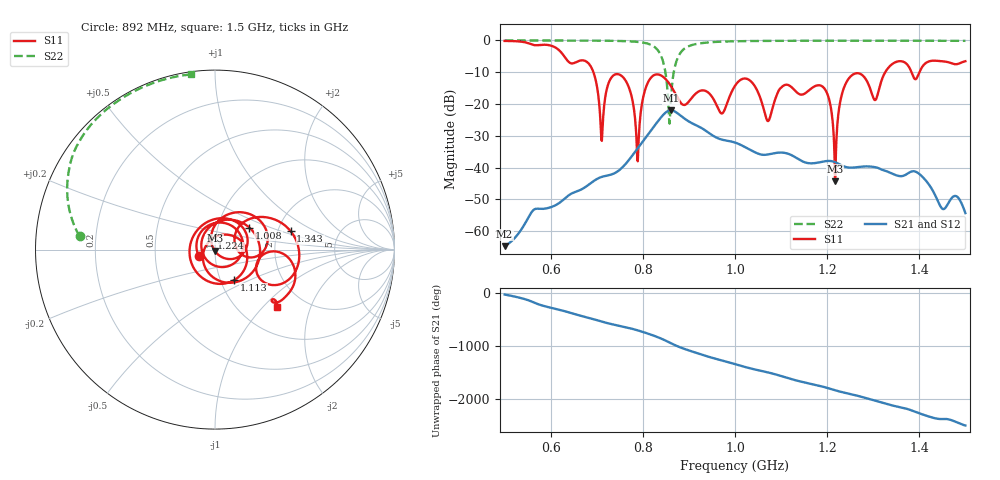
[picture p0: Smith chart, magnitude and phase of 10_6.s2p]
! TOUCHSTONE file generated by CST MICROWAVE STUDIO
! Date and time: Tue Nov 17 07:11:14 2020
! Project name: Scenario_1_Planar_Body_Tissue_Out_of_Line.cst
! Header version: 2018
! Port assignment regex: !\s*Touchstone port\s*([0-9]+)\s*=\s*(CST MWS port|CST DS port)\s*([0-9]+|Zmin|Zmax)\s*\(\"(.*)\"\)(\s*mode\s*([0-9]+))?.*
! Touchstone port assignment:
! Touchstone port 1 = CST MWS port 1 ("")
! Touchstone port 2 = CST MWS port 2 ("")
# GHz S DB R 50
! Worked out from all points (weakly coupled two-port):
!   1003 points, 500 MHz to 1.5 GHz, reference 50 ohm
!   highest |S21| = -21.99 dB at 861 MHz (marker M1); lowest = -64.7 dB at 500 MHz (marker M2)
!   lowest |S11| = -44.3 dB at 1.217 GHz (marker M3), VSWR 1.01, Z = 49.8 - j0.578 ohm
!   |S11| at or under -10 dB: 692.7 MHz to 1.326 GHz (633.3 MHz wide, 62.7 % of centre); 1.383 GHz to 1.4 GHz (17.11 MHz wide, 1.23 % of centre)
!   |S22| runs from -26.2 to 0.0 dB; largest |S21 - S12| = 2.4e-05
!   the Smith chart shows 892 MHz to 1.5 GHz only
!   S11 on the Smith chart (normalised r, x): 892 MHz: 0.83, -0.06; 1.008 GHz: 1.42, +0.37; 1.113 GHz: 1.16, -0.41; 1.224 GHz: 0.95, +0.12; 1.343 GHz: 2.35, +0.59; 1.5 GHz: 1.46, -1.21
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0.5  -0.15 -121.6  -64.73 -22.0  -64.73 -22.0  -0.01 151.2
0.667  -6.26 148.0  -46.85 -67.4  -46.85 -67.4  -0.04 138.4
0.711  -31.60 -56.1  -42.93 -174.8  -42.93 -174.8  -0.08 133.5
0.729  -12.33 -171.9  -42.30 143.9  -42.30 143.9  -0.11 131.0
0.76  -12.09 115.9  -39.27 85.0  -39.27 85.0  -0.21 125.5
0.788  -37.39 106.5  -34.09 21.6  -34.09 21.6  -0.45 117.7
0.834  -10.72 85.0  -25.20 -115.6  -25.20 -115.6  -3.38 83.5
0.861  -14.36 -6.2  -21.99 135.7  -21.99 135.7  -18.21 -120.2
0.892  -20.23 -158.3  -24.76 22.6  -24.76 22.6  -2.41 174.4
1  -14.28 58.8  -32.12 100.0  -32.12 100.0  -0.27 140.2
1.008  -12.86 32.7  -32.57 79.6  -32.57 79.6  -0.24 139.2
1.071  -25.36 150.3  -35.88 -56.0  -35.88 -56.0  -0.14 132.3
1.113  -13.93 -57.5  -35.55 -159.4  -35.55 -159.4  -0.11 128.6
1.167  -14.96 78.5  -38.66 83.1  -38.66 83.1  -0.10 124.2
1.2  -16.69 -13.1  -37.93 9.6  -37.93 9.6  -0.09 121.7
1.217  -44.28 -108.1  -38.29 -34.9  -38.29 -34.9  -0.09 120.3
1.224  -23.54 109.4  -38.77 -52.2  -38.77 -52.2  -0.09 119.8
1.251  -11.30 47.7  -40.03 -108.2  -40.03 -108.2  -0.09 117.8
1.304  -18.78 14.6  -39.88 126.5  -39.88 126.5  -0.08 113.8
1.334  -8.39 25.4  -41.45 53.4  -41.45 53.4  -0.09 111.5
1.343  -7.25 13.6  -42.02 33.2  -42.02 33.2  -0.09 110.8
1.5  -6.53 -42.9  -54.32 17.8  -54.32 17.8  -0.13 98.0
